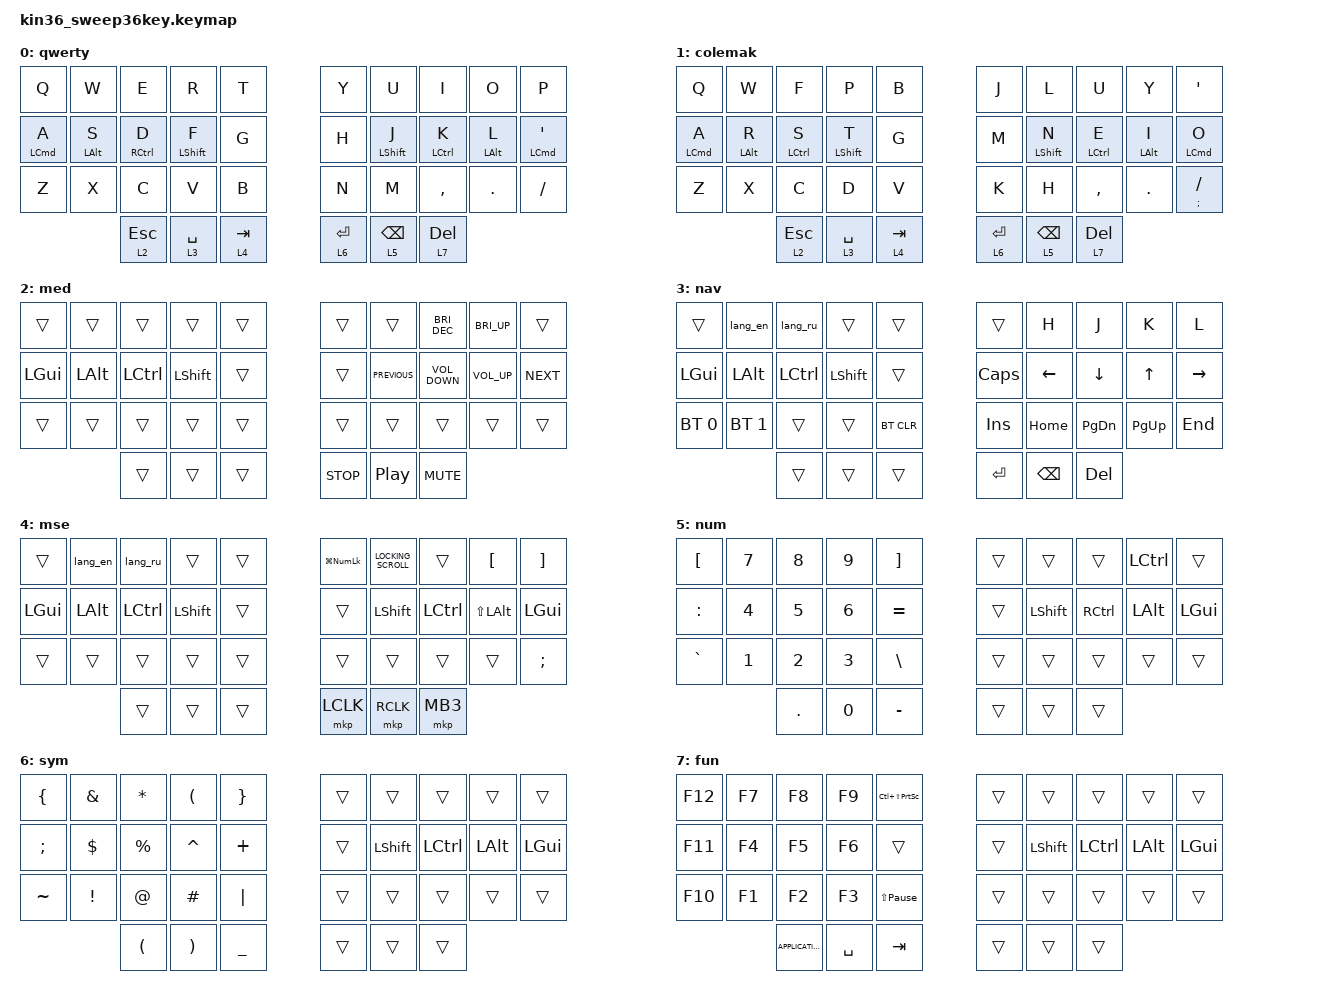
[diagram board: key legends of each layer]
// Copyright (c) 2022 The ZMK Contributors
// SPDX-License-Identifier: MIT

#define ZMK_POINTING_DEFAULT_MOVE_VAL 2500  // 600
#define ZMK_POINTING_DEFAULT_SCRL_VAL 20    // 10

#include <behaviors.dtsi>
#include <dt-bindings/zmk/bt.h>
#include <dt-bindings/zmk/keys.h>
#include <dt-bindings/zmk/pointing.h>

#define MAC 0
#define WIN 1
#define RIG 2
#define LEF 3
#define TRI 4
#define MOUSE 5

// https://zmk.dev/docs/development/hardware-integration/soft-off-setup?advanced-methods=wakeup&kscan-type=dkscan

/ {
    keys {
        compatible = "gpio-keys";

        soft_off_gpio_key: soft_off_gpio_key { gpios = <&gpio1 6 (GPIO_ACTIVE_LOW | GPIO_PULL_UP)>; };
    };

    wakeup_scan: wakeup_scan {
        compatible = "zmk,kscan-gpio-direct";
        input-keys = <&soft_off_gpio_key>;
        wakeup-source;
    };

    side_band_behavior_triggers: side_band_behavior_triggers {
        compatible = "zmk,kscan-sideband-behaviors";
        kscan = <&wakeup_scan>;
        auto-enable;
        wakeup-source;
    };

    soft_off_wakers {
        compatible = "zmk,soft-off-wakeup-sources";
        wakeup-sources = <&wakeup_scan>;
    };
};

/ {
    // chosen { zmk,charmap = &charmap_us; };

    behaviors {
        ht: hold_tap {
            label = "hold_tap";
            compatible = "zmk,behavior-hold-tap";
            #binding-cells = <2>;
            flavor = "tap-preferred";
            tapping-term-ms = <220>;
            quick-tap-ms = <150>;
            global-quick-tap;
            bindings = <&kp>, <&kp>;
        };

        mmv {
            acceleration-exponent = <1>;      // 1
            time-to-max-speed-ms = <300>;    // 40
            delay-ms = <0>;                   // 0
        };

        msc {
            acceleration-exponent = <0>;      // 0
            time-to-max-speed-ms = <40>;      // 500
            delay-ms = <0>;                   // 10
        };
    };

    conditional_layers { compatible = "zmk,conditional-layers"; };

    macros {
        lang_ru: lang_ru {
            compatible = "zmk,behavior-macro";
            #binding-cells = <0>;
            bindings = <&kp LG(LA(NUMBER_1))>;
            label = "LANG_RU";
        };

        lang_en: lang_en {
            compatible = "zmk,behavior-macro";
            #binding-cells = <0>;
            bindings = <&kp LG(LA(NUMBER_2))>;
            label = "LANG_EN";
        };

        right_arrow: right_arrow {
            compatible = "zmk,behavior-macro";
            #binding-cells = <0>;
            bindings = <&kp MINUS &kp GREATER_THAN>;
            label = "RIGHT_ARROW";
        };

        array_arrow: array_arrow {
            compatible = "zmk,behavior-macro";
            #binding-cells = <0>;
            bindings = <&kp EQUAL &kp GREATER_THAN>;
            label = "ARRAY_ARROW";
        };
    };

    combos {
        compatible = "zmk,combos";

        letterH {
            bindings = <&kp LEFT_BRACKET>;
            key-positions = <7 8>;
            layers = <0>;
            timeout-ms = <30>;
        };

        letterZhe {
            bindings = <&kp SEMI>;
            key-positions = <17 18>;
            layers = <0>;
            timeout-ms = <30>;
        };

        arrow {
            bindings = <&right_arrow>;
            key-positions = <10 11>;
            layers = <6>;
            timeout-ms = <30>;
        };

        semi {
            bindings = <&kp LS(SEMI)>;
            key-positions = <27 28>;
            layers = <0>;
            timeout-ms = <30>;
        };

        caps {
            bindings = <&kp CLCK>;
            key-positions = <6 7>;
            layers = <0>;
            timeout-ms = <30>;
        };

        langen {
            bindings = <&lang_en>;
            key-positions = <1 2>;
            layers = <0>;
            timeout-ms = <30>;
        };

        langru {
            bindings = <&lang_ru>;
            key-positions = <2 3>;
            layers = <0>;
            timeout-ms = <30>;
        };

        array_arrow {
            bindings = <&array_arrow>;
            key-positions = <11 12>;
            layers = <6>;
            timeout-ms = <30>;
        };
    };

    keymap {
        compatible = "zmk,keymap";

        base_qwerty {
            display-name = "qwerty";
            bindings = <
  &kp Q               &kp W           &kp E         &kp R             &kp T        &kp Y        &kp U             &kp I               &kp O           &kp P
  &ht LEFT_COMMAND A  &ht LEFT_ALT S  &ht RCTRL D   &ht LEFT_SHIFT F  &kp G        &kp H        &ht LEFT_SHIFT J  &ht LEFT_CONTROL K  &ht LEFT_ALT L  &ht LEFT_COMMAND SINGLE_QUOTE
  &kp Z               &kp X           &kp C         &kp V             &kp B        &kp N        &kp M             &kp COMMA           &kp DOT         &kp SLASH
                                      &lt 2 ESCAPE  &lt 3 SPACE       &lt 4 TAB    &lt 6 ENTER  &lt 5 BACKSPACE   &lt 7 DEL
            >;
        };

        base_colemak {
            display-name = "colemak";
            bindings = <
  &kp Q               &kp W           &kp F               &kp P             &kp B        &kp J        &kp L             &kp U               &kp Y           &kp SQT
  &ht LEFT_COMMAND A  &ht LEFT_ALT R  &ht LEFT_CONTROL S  &ht LEFT_SHIFT T  &kp G        &kp M        &ht LEFT_SHIFT N  &ht LEFT_CONTROL E  &ht LEFT_ALT I  &ht LEFT_COMMAND O
  &kp Z               &kp X           &kp C               &kp D             &kp V        &kp K        &kp H             &kp COMMA           &kp DOT         &ht SEMICOLON SLASH
                                      &lt 2 ESCAPE        &lt 3 SPACE       &lt 4 TAB    &lt 6 ENTER  &lt 5 BACKSPACE   &lt 7 DEL
            >;
        };

        med {
            bindings = <
  &trans    &trans    &trans     &trans     &trans    &trans      &trans          &kp C_BRI_DEC      &kp C_BRI_UP  &trans
  &kp LGUI  &kp LALT  &kp LCTRL  &kp LSHFT  &trans    &trans      &kp C_PREVIOUS  &kp C_VOLUME_DOWN  &kp C_VOL_UP  &kp C_NEXT
  &trans    &trans    &trans     &trans     &trans    &trans      &trans          &trans             &trans        &trans
                      &trans     &trans     &trans    &kp K_STOP  &kp C_PP        &kp K_MUTE
            >;
        };

        nav {
            bindings = <
  &trans        &lang_en      &lang_ru   &trans     &trans        &trans     &kp H     &kp J          &kp K      &kp L
  &kp LGUI      &kp LALT      &kp LCTRL  &kp LSHFT  &trans        &kp CAPS   &kp LEFT  &kp DOWN       &kp UP     &kp RIGHT
  &bt BT_SEL 0  &bt BT_SEL 1  &trans     &trans     &bt BT_CLR    &kp INS    &kp HOME  &kp PAGE_DOWN  &kp PG_UP  &kp END
                              &trans     &trans     &trans        &kp ENTER  &kp BSPC  &kp DEL
            >;
        };

        mse {
            bindings = <
  &trans    &lang_en  &lang_ru   &trans     &trans    &kp LG(KP_NUMLOCK)  &kp LOCKING_SCROLL  &trans            &kp LEFT_BRACKET  &kp RIGHT_BRACKET
  &kp LGUI  &kp LALT  &kp LCTRL  &kp LSHFT  &trans    &trans              &kp LEFT_SHIFT      &kp LEFT_CONTROL  &kp LS(LEFT_ALT)  &kp LGUI
  &trans    &trans    &trans     &trans     &trans    &trans              &trans              &trans            &trans            &kp SEMI
                      &trans     &trans     &trans    &mkp LCLK           &mkp RCLK           &mkp MB3
            >;
        };

        num {
            bindings = <
  &kp LBKT   &kp N7  &kp N8   &kp N9  &kp RBKT     &trans  &trans          &trans     &kp LEFT_CONTROL  &trans
  &kp COLON  &kp N4  &kp N5   &kp N6  &kp EQUAL    &trans  &kp LEFT_SHIFT  &kp RCTRL  &kp LEFT_ALT      &kp LGUI
  &kp GRAVE  &kp N1  &kp N2   &kp N3  &kp BSLH     &trans  &trans          &trans     &trans            &trans
                     &kp DOT  &kp N0  &kp MINUS    &trans  &trans          &trans
            >;
        };

        sym {
            bindings = <
  &kp LEFT_BRACE  &kp AMPS         &kp STAR              &kp LEFT_PARENTHESIS   &kp RIGHT_BRACE    &trans  &trans          &trans            &trans        &trans
  &kp SEMI        &kp DOLLAR       &kp PERCENT           &kp CARET              &kp PLUS           &trans  &kp LEFT_SHIFT  &kp LEFT_CONTROL  &kp LEFT_ALT  &kp LGUI
  &kp TILDE       &kp EXCLAMATION  &kp AT_SIGN           &kp HASH               &kp PIPE           &trans  &trans          &trans            &trans        &trans
                                   &kp LEFT_PARENTHESIS  &kp RIGHT_PARENTHESIS  &kp UNDER          &trans  &trans          &trans
            >;
        };

        fun {
            bindings = <
  &kp F12  &kp F7  &kp F8             &kp F9     &kp LC(LS(PRINTSCREEN))    &trans  &trans          &trans            &trans        &trans
  &kp F11  &kp F4  &kp F5             &kp F6     &trans                     &trans  &kp LEFT_SHIFT  &kp LEFT_CONTROL  &kp LEFT_ALT  &kp LGUI
  &kp F10  &kp F1  &kp F2             &kp F3     &kp LS(PAUSE_BREAK)        &trans  &trans          &trans            &trans        &trans
                   &kp K_APPLICATION  &kp SPACE  &kp TAB                    &trans  &trans          &trans
            >;
        };
    };
};
